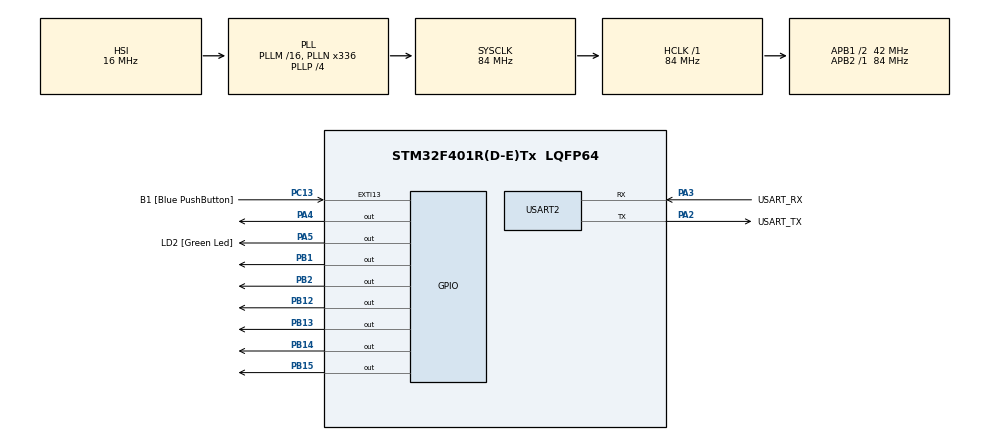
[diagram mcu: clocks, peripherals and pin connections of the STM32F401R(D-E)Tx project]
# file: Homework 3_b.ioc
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Mcu.Family=STM32F4
Mcu.Name=STM32F401R(D-E)Tx
Mcu.Package=LQFP64
NVIC.PriorityGroup=NVIC_PRIORITYGROUP_0
NVIC.TIM2_IRQn=true\:0\:0\:false\:false\:true\:true\:true\:true
PA13.GPIO_Label=TMS
PA13.Mode=Serial_Wire
PA13.Signal=SYS_JTMS-SWDIO
PA14.GPIO_Label=TCK
PA14.Mode=Serial_Wire
PA14.Signal=SYS_JTCK-SWCLK
PA2.GPIO_Label=USART_TX
PA2.GPIO_Mode=GPIO_MODE_AF_PP
PA2.GPIO_PuPd=GPIO_NOPULL
PA2.GPIO_Speed=GPIO_SPEED_FREQ_LOW
PA2.Mode=Asynchronous
PA2.Signal=USART2_TX
PA3.GPIO_Label=USART_RX
PA3.GPIO_Mode=GPIO_MODE_AF_PP
PA3.GPIO_PuPd=GPIO_NOPULL
PA3.GPIO_Speed=GPIO_SPEED_FREQ_LOW
PA3.Mode=Asynchronous
PA3.Signal=USART2_RX
PA4.Signal=GPIO_Output
PA5.GPIO_Label=LD2 [Green Led]
PA5.GPIO_Mode=GPIO_MODE_OUTPUT_PP
PA5.GPIO_PuPd=GPIO_NOPULL
PA5.GPIO_Speed=GPIO_SPEED_FREQ_LOW
PA5.Signal=GPIO_Output
PB1.Signal=GPIO_Output
PB12.Signal=GPIO_Output
PB13.Signal=GPIO_Output
PB14.Signal=GPIO_Output
PB15.Signal=GPIO_Output
PB2.Signal=GPIO_Output
PB3.GPIO_Label=SWO
PB3.Signal=SYS_JTDO-SWO
PC13-ANTI_TAMP.GPIO_Label=B1 [Blue PushButton]
PC13-ANTI_TAMP.GPIO_ModeDefaultEXTI=GPIO_MODE_IT_FALLING
PC13-ANTI_TAMP.GPIO_PuPd=GPIO_NOPULL
PC13-ANTI_TAMP.Signal=GPXTI13
PC14-OSC32_IN.Mode=LSE-External-Oscillator
PC14-OSC32_IN.Signal=RCC_OSC32_IN
PC15-OSC32_OUT.Mode=LSE-External-Oscillator
PC15-OSC32_OUT.Signal=RCC_OSC32_OUT
PH0\ -\ OSC_IN.Mode=HSE-External-Clock-Source
PH0\ -\ OSC_IN.Signal=RCC_OSC_IN
PH1\ -\ OSC_OUT.Mode=HSE-External-Clock-Source
PH1\ -\ OSC_OUT.Signal=RCC_OSC_OUT
ProjectManager.HeapSize=0x200
ProjectManager.StackSize=0x400
ProjectManager.TargetToolchain=STM32CubeIDE
RCC.48MHZClocksFreq_Value=48000000
RCC.AHBFreq_Value=84000000
RCC.APB1CLKDivider=RCC_HCLK_DIV2
RCC.APB1Freq_Value=42000000
RCC.APB1TimFreq_Value=84000000
RCC.APB2Freq_Value=84000000
RCC.APB2TimFreq_Value=84000000
RCC.CortexFreq_Value=84000000
RCC.HCLKFreq_Value=84000000
RCC.HSE_VALUE=8000000
RCC.HSI_VALUE=16000000
RCC.PLLN=336
RCC.PLLP=RCC_PLLP_DIV4
RCC.PLLQ=7
RCC.SYSCLKFreq_VALUE=84000000
RCC.SYSCLKSource=RCC_SYSCLKSOURCE_PLLCLK
RCC.VCOOutputFreq_Value=336000000
TIM2.Period=10000-1
TIM2.Prescaler=8400-1
USART2.VirtualMode=VM_ASYNC
VP_TIM2_VS_ClockSourceINT.Mode=Internal
board=NUCLEO-F401RE

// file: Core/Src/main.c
/* USER CODE BEGIN Header */
/**
  ******************************************************************************
  * @file           : main.c
  * @brief          : Main program body
  ******************************************************************************
  * @attention
  *
  * Copyright (c) 2023 STMicroelectronics.
  * All rights reserved.
  *
  * This software is licensed under terms that can be found in the LICENSE file
  * in the root directory of this software component.
  * If no LICENSE file comes with this software, it is provided AS-IS.
  *
  ******************************************************************************
  */
/* USER CODE END Header */
#include "main.h"

/* USER CODE BEGIN Includes */
#include "PMDB16_LCD.h"
/* USER CODE END Includes */

TIM_HandleTypeDef htim2;

UART_HandleTypeDef huart2;

void SystemClock_Config(void);
static void MX_GPIO_Init(void);
static void MX_USART2_UART_Init(void);
static void MX_TIM2_Init(void);
/* USER CODE BEGIN PFP */
void displayNextMember();
/* USER CODE END PFP */

/* USER CODE BEGIN 0 */

char *names[] = {"Alberto", "Federico", "Giuseppe", "Matteo", "Pier Francesco", "Vincenzo"};
int member_num = 6;
int current_member = 0;
int first = 1;

/* USER CODE END 0 */

int main(void)
{

  /* MCU Configuration--------------------------------------------------------*/

  /* Reset of all peripherals, Initializes the Flash interface and the Systick. */
  HAL_Init();

  /* Configure the system clock */
  SystemClock_Config();

  /* Initialize all configured peripherals */
  MX_GPIO_Init();
  MX_USART2_UART_Init();
  MX_TIM2_Init();
  /* USER CODE BEGIN 2 */

  lcd_initialize();

  HAL_TIM_Base_Start_IT(&htim2);

  /* USER CODE END 2 */

  /* Infinite loop */
  while (1)
  {

  }
}

void SystemClock_Config(void)
{
  RCC_OscInitTypeDef RCC_OscInitStruct = {0};
  RCC_ClkInitTypeDef RCC_ClkInitStruct = {0};

  /** Configure the main internal regulator output voltage
  */
  __HAL_RCC_PWR_CLK_ENABLE();
  __HAL_PWR_VOLTAGESCALING_CONFIG(PWR_REGULATOR_VOLTAGE_SCALE2);

  /** Initializes the RCC Oscillators according to the specified parameters
  * in the RCC_OscInitTypeDef structure.
  */
  RCC_OscInitStruct.OscillatorType = RCC_OSCILLATORTYPE_HSI;
  RCC_OscInitStruct.HSIState = RCC_HSI_ON;
  RCC_OscInitStruct.HSICalibrationValue = RCC_HSICALIBRATION_DEFAULT;
  RCC_OscInitStruct.PLL.PLLState = RCC_PLL_ON;
  RCC_OscInitStruct.PLL.PLLSource = RCC_PLLSOURCE_HSI;
  RCC_OscInitStruct.PLL.PLLM = 16;
  RCC_OscInitStruct.PLL.PLLN = 336;
  RCC_OscInitStruct.PLL.PLLP = RCC_PLLP_DIV4;
  RCC_OscInitStruct.PLL.PLLQ = 7;
  if (HAL_RCC_OscConfig(&RCC_OscInitStruct) != HAL_OK)
  {
    Error_Handler();
  }

  /** Initializes the CPU, AHB and APB buses clocks
  */
  RCC_ClkInitStruct.ClockType = RCC_CLOCKTYPE_HCLK|RCC_CLOCKTYPE_SYSCLK
                              |RCC_CLOCKTYPE_PCLK1|RCC_CLOCKTYPE_PCLK2;
  RCC_ClkInitStruct.SYSCLKSource = RCC_SYSCLKSOURCE_PLLCLK;
  RCC_ClkInitStruct.AHBCLKDivider = RCC_SYSCLK_DIV1;
  RCC_ClkInitStruct.APB1CLKDivider = RCC_HCLK_DIV2;
  RCC_ClkInitStruct.APB2CLKDivider = RCC_HCLK_DIV1;

  if (HAL_RCC_ClockConfig(&RCC_ClkInitStruct, FLASH_LATENCY_2) != HAL_OK)
  {
    Error_Handler();
  }
}

static void MX_TIM2_Init(void)
{

  TIM_ClockConfigTypeDef sClockSourceConfig = {0};
  TIM_MasterConfigTypeDef sMasterConfig = {0};

  htim2.Instance = TIM2;
  htim2.Init.Prescaler = 8400-1;
  htim2.Init.CounterMode = TIM_COUNTERMODE_UP;
  htim2.Init.Period = 10000-1;
  htim2.Init.ClockDivision = TIM_CLOCKDIVISION_DIV1;
  htim2.Init.AutoReloadPreload = TIM_AUTORELOAD_PRELOAD_DISABLE;
  if (HAL_TIM_Base_Init(&htim2) != HAL_OK)
  {
    Error_Handler();
  }
  sClockSourceConfig.ClockSource = TIM_CLOCKSOURCE_INTERNAL;
  if (HAL_TIM_ConfigClockSource(&htim2, &sClockSourceConfig) != HAL_OK)
  {
    Error_Handler();
  }
  sMasterConfig.MasterOutputTrigger = TIM_TRGO_RESET;
  sMasterConfig.MasterSlaveMode = TIM_MASTERSLAVEMODE_DISABLE;
  if (HAL_TIMEx_MasterConfigSynchronization(&htim2, &sMasterConfig) != HAL_OK)
  {
    Error_Handler();
  }

}

static void MX_USART2_UART_Init(void)
{

  huart2.Instance = USART2;
  huart2.Init.BaudRate = 115200;
  huart2.Init.WordLength = UART_WORDLENGTH_8B;
  huart2.Init.StopBits = UART_STOPBITS_1;
  huart2.Init.Parity = UART_PARITY_NONE;
  huart2.Init.Mode = UART_MODE_TX_RX;
  huart2.Init.HwFlowCtl = UART_HWCONTROL_NONE;
  huart2.Init.OverSampling = UART_OVERSAMPLING_16;
  if (HAL_UART_Init(&huart2) != HAL_OK)
  {
    Error_Handler();
  }

}

static void MX_GPIO_Init(void)
{
  GPIO_InitTypeDef GPIO_InitStruct = {0};

  /* GPIO Ports Clock Enable */
  __HAL_RCC_GPIOC_CLK_ENABLE();
  __HAL_RCC_GPIOH_CLK_ENABLE();
  __HAL_RCC_GPIOA_CLK_ENABLE();
  __HAL_RCC_GPIOB_CLK_ENABLE();

  /*Configure GPIO pin Output Level */
  HAL_GPIO_WritePin(GPIOA, GPIO_PIN_4|LD2_Pin, GPIO_PIN_RESET);

  /*Configure GPIO pin Output Level */
  HAL_GPIO_WritePin(GPIOB, GPIO_PIN_1|GPIO_PIN_2|GPIO_PIN_12|GPIO_PIN_13
                          |GPIO_PIN_14|GPIO_PIN_15, GPIO_PIN_RESET);

  /*Configure GPIO pin : B1_Pin */
  GPIO_InitStruct.Pin = B1_Pin;
  GPIO_InitStruct.Mode = GPIO_MODE_IT_FALLING;
  GPIO_InitStruct.Pull = GPIO_NOPULL;
  HAL_GPIO_Init(B1_GPIO_Port, &GPIO_InitStruct);

  /*Configure GPIO pins : PA4 LD2_Pin */
  GPIO_InitStruct.Pin = GPIO_PIN_4|LD2_Pin;
  GPIO_InitStruct.Mode = GPIO_MODE_OUTPUT_PP;
  GPIO_InitStruct.Pull = GPIO_NOPULL;
  GPIO_InitStruct.Speed = GPIO_SPEED_FREQ_LOW;
  HAL_GPIO_Init(GPIOA, &GPIO_InitStruct);

  /*Configure GPIO pins : PB1 PB2 PB12 PB13
                           PB14 PB15 */
  GPIO_InitStruct.Pin = GPIO_PIN_1|GPIO_PIN_2|GPIO_PIN_12|GPIO_PIN_13
                          |GPIO_PIN_14|GPIO_PIN_15;
  GPIO_InitStruct.Mode = GPIO_MODE_OUTPUT_PP;
  GPIO_InitStruct.Pull = GPIO_NOPULL;
  GPIO_InitStruct.Speed = GPIO_SPEED_FREQ_LOW;
  HAL_GPIO_Init(GPIOB, &GPIO_InitStruct);

}

/* USER CODE BEGIN 4 */

void HAL_TIM_PeriodElapsedCallback(TIM_HandleTypeDef *htim)
{
	if(htim == &htim2)
	{
		displayNextMember();
	}
}

void displayNextMember()
{
	// Check is done here as otherwise the first name is not displayed correctly:
	// The first and the second name are displayed toghether, without having the
	// top line blank for 1 sec
	if(first)
	{
		lcd_println(names[current_member], 1);
		first = 0;
		return;
	}

	lcd_println(names[current_member], 0);

	current_member += 1;

	if(current_member >= member_num)
		current_member = 0;

	lcd_println(names[current_member], 1);
}

/* USER CODE END 4 */

void Error_Handler(void)
{
  __disable_irq();
  while (1)
  {
  }
}
